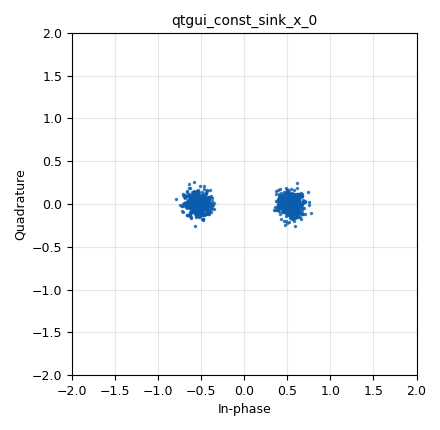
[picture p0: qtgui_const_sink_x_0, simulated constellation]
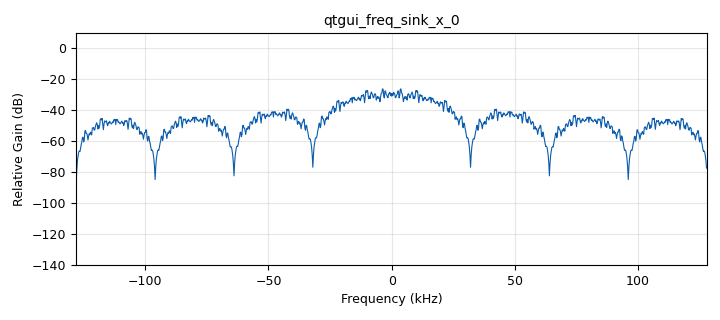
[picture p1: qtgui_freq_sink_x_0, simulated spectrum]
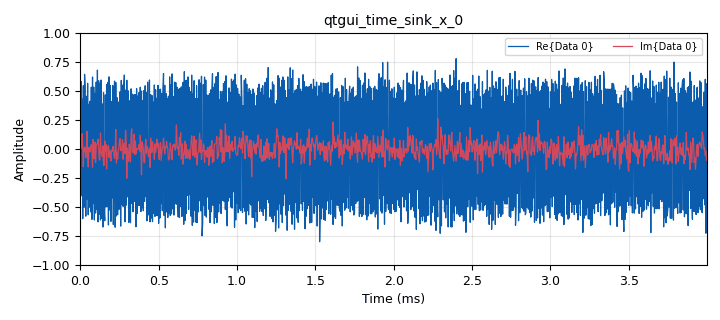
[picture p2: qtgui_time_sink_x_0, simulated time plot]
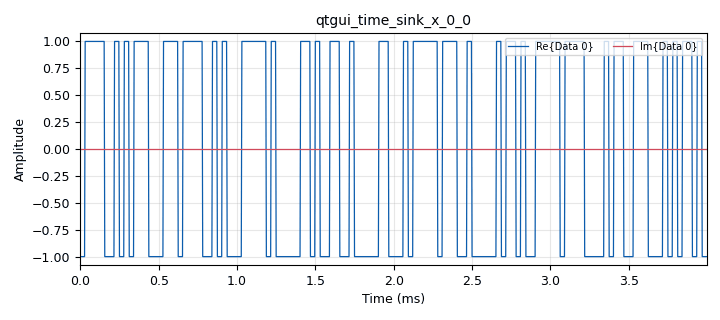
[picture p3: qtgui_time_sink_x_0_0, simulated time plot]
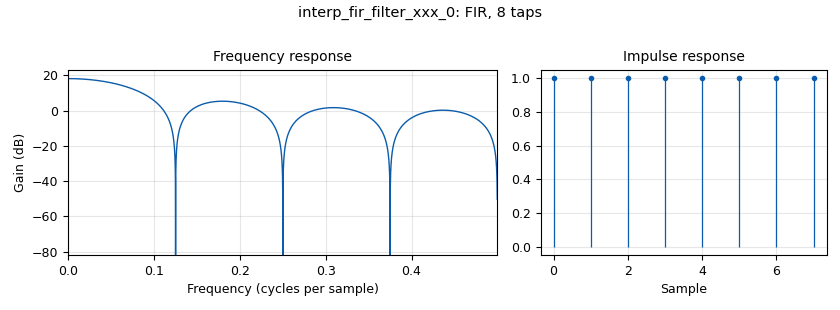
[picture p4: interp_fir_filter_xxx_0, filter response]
options:
  parameters:
    author: radiogis_director
    generate_options: qt_gui
    id: top_block
    output_language: python
    title: top_block
  states: {}

blocks:
- name: M
  id: variable
  parameters:
    value: len(tabla_de_verdad_constelacion )
  states: {}
- name: Rb
  id: variable
  parameters:
    value: Rs*bps
  states: {}
- name: Rs
  id: variable
  parameters:
    value: '32000'
  states: {}
- name: Sps
  id: variable
  parameters:
    value: '8'
  states: {}
- name: bps
  id: variable
  parameters:
    value: int(math.log(M,2))
  states: {}
- name: fc
  id: variable_qtgui_range
  parameters:
    label: Carrier Freq
    start: '0'
    step: samp_rate/1000
    stop: samp_rate/2
    value: Rb*4
    widget: counter
  states: {}
- name: h
  id: variable
  parameters:
    value: '[1]*Sps'
  states: {}
- name: samp_rate
  id: variable
  parameters:
    value: Rs*Sps
  states: {}
- name: tabla_de_verdad_constelacion
  id: variable
  parameters:
    value: (-1,1)
  states: {}
- name: analog_const_source_x_0
  id: analog_const_source_x
  parameters:
    const: '1'
    type: complex
  states: {state: disabled}
- name: analog_const_source_x_0_0
  id: analog_const_source_x
  parameters:
    const: '1'
    type: complex
  states: {}
- name: analog_noise_source_x_0
  id: analog_noise_source_x
  parameters:
    amp: '0.2'
    noise_type: analog.GR_GAUSSIAN
    seed: '0'
    type: complex
  states: {}
- name: analog_random_source_x_0
  id: analog_random_source_x
  parameters:
    max: '2'
    min: '0'
    num_samps: '1000'
    repeat: 'True'
    type: byte
  states: {}
- name: blocks_add_xx_0
  id: blocks_add_xx
  parameters:
    type: complex
  states: {}
- name: blocks_pack_k_bits_bb_0
  id: blocks_pack_k_bits_bb
  parameters:
    k: '8'
  states: {}
- name: blocks_packed_to_unpacked_xx_0
  id: blocks_packed_to_unpacked_xx
  parameters:
    bits_per_chunk: bps
    endianness: gr.GR_MSB_FIRST
    type: byte
  states: {}
- name: digital_chunks_to_symbols_xx_0
  id: digital_chunks_to_symbols_xx
  parameters:
    dimension: '1'
    in_type: byte
    out_type: complex
    symbol_table: tabla_de_verdad_constelacion
  states: {}
- name: epy_block_0_0
  id: epy_block
  parameters:
    _source_code: "import numpy as np\nfrom gnuradio import gr\nimport math\n\nclass blk(gr.sync_block):  \n    \"\"\"This block is a RF VCO and works as following: …..\"\"\"\n\n    def __init__(self, fc=128000, samp_rate=320000):  \n        gr.sync_block.__init__(\n            self,\n            name='e_RF_VCO_ff',   \n            in_sig=[np.complex64, np.complex64],\n            out_sig=[np.complex64]\n        )\n        self.fc = fc\n        self.samp_rate = samp_rate\n        self.n_m=0\n\n    def work(self, input_items, output_items):\n        A=input_items[0]\n        Q=input_items[1]\n        y=output_items[0]\n        N=len(A)\n        n=np.linspace(self.n_m,self.n_m+N-1,N)\n        self.n_m += N\n        y[:]=A*np.cos(2*math.pi*self.fc*n/self.samp_rate+Q)\n        return len(output_items[0])\n\n\n"
    fc: fc
    samp_rate: samp_rate
  states: {state: disabled}
- name: epy_block_0_0_0
  id: epy_block
  parameters:
    _source_code: "import numpy as np\nfrom gnuradio import gr\nimport math\n\nclass blk(gr.sync_block):  \n    \"\"\"This block is a RF VCO and works as following: …..\"\"\"\n\n    def __init__(self, fc=128000, samp_rate=320000):  \n        gr.sync_block.__init__(\n            self,\n            name='e_RF_VCO_ff',   \n            in_sig=[np.complex64, np.complex64],\n            out_sig=[np.complex64]\n        )\n        self.fc = fc\n        self.samp_rate = samp_rate\n        self.n_m=0\n\n    def work(self, input_items, output_items):\n        A=input_items[0]\n        Q=input_items[1]\n        y=output_items[0]\n        N=len(A)\n        n=np.linspace(self.n_m,self.n_m+N-1,N)\n        self.n_m += N\n        y[:]=A*np.cos(2*math.pi*self.fc*n/self.samp_rate+Q)\n        return len(output_items[0])\n\n\n"
    fc: fc
    samp_rate: samp_rate
  states: {}
- name: import_0
  id: import
  parameters:
    imports: import math
  states: {}
- name: interp_fir_filter_xxx_0
  id: interp_fir_filter_xxx
  parameters:
    interp: Sps
    taps: h
    type: ccf
  states: {}
- name: qtgui_const_sink_x_0
  id: qtgui_const_sink_x
  parameters:
    size: '1024'
    type: complex
  states: {}
- name: qtgui_freq_sink_x_0
  id: qtgui_freq_sink_x
  parameters:
    average: '0.05'
    bw: samp_rate
    fc: '0'
    fftsize: '1024'
    type: complex
  states: {}
- name: qtgui_time_sink_x_0
  id: qtgui_time_sink_x
  parameters:
    size: '1024'
    srate: samp_rate
    type: complex
  states: {}
- name: qtgui_time_sink_x_0_0
  id: qtgui_time_sink_x
  parameters:
    size: '1024'
    srate: samp_rate
    type: complex
  states: {}
- name: virtual_sink_0
  id: virtual_sink
  parameters:
    stream_id: p1
  states: {state: disabled}
- name: virtual_sink_0_0
  id: virtual_sink
  parameters:
    stream_id: p0
  states: {}
- name: virtual_sink_0_1
  id: virtual_sink
  parameters:
    stream_id: p1
  states: {}
- name: virtual_source_0
  id: virtual_source
  parameters:
    stream_id: p1
  states: {}
- name: virtual_source_0_0
  id: virtual_source
  parameters:
    stream_id: p0
  states: {}

connections:
- [analog_const_source_x_0, '0', epy_block_0_0, '1']
- [analog_const_source_x_0_0, '0', epy_block_0_0_0, '1']
- [analog_noise_source_x_0, '0', blocks_add_xx_0, '0']
- [analog_random_source_x_0, '0', blocks_pack_k_bits_bb_0, '0']
- [blocks_add_xx_0, '0', epy_block_0_0_0, '0']
- [blocks_add_xx_0, '0', virtual_sink_0, '0']
- [blocks_pack_k_bits_bb_0, '0', blocks_packed_to_unpacked_xx_0, '0']
- [blocks_packed_to_unpacked_xx_0, '0', digital_chunks_to_symbols_xx_0, '0']
- [digital_chunks_to_symbols_xx_0, '0', interp_fir_filter_xxx_0, '0']
- [epy_block_0_0, '0', blocks_add_xx_0, '1']
- [epy_block_0_0_0, '0', virtual_sink_0_1, '0']
- [interp_fir_filter_xxx_0, '0', blocks_add_xx_0, '1']
- [interp_fir_filter_xxx_0, '0', epy_block_0_0, '0']
- [interp_fir_filter_xxx_0, '0', virtual_sink_0_0, '0']
- [virtual_source_0, '0', qtgui_const_sink_x_0, '0']
- [virtual_source_0, '0', qtgui_time_sink_x_0, '0']
- [virtual_source_0_0, '0', qtgui_freq_sink_x_0, '0']
- [virtual_source_0_0, '0', qtgui_time_sink_x_0_0, '0']

metadata:
  file_format: 1
  grc_version: 3.10.12.0
